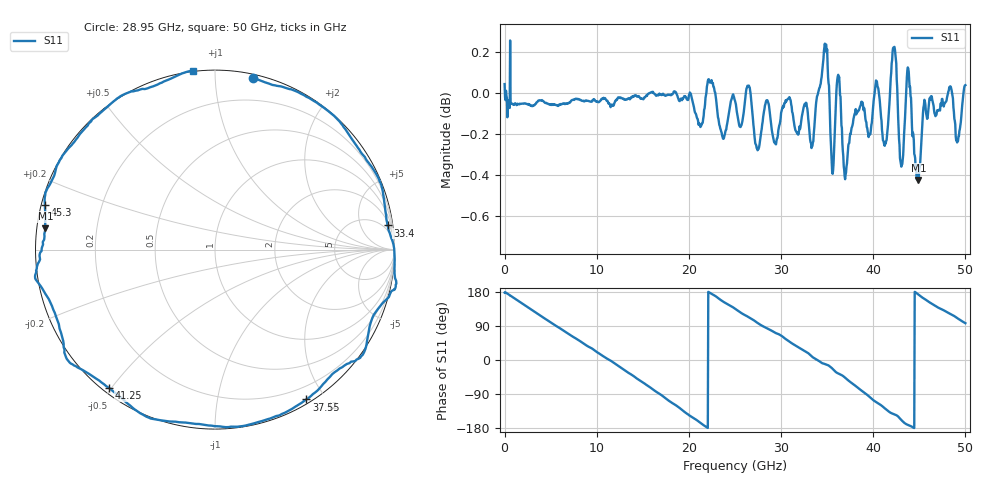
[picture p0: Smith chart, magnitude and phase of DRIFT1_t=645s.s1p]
!Created with skrf (http://scikit-rf.org).
# Hz S RI R 50.0
!freq ReS11 ImS11
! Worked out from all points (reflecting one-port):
!   1001 points, 300 kHz to 50 GHz, reference 50 ohm
!   lowest |S11| = -0.4 dB at 44.9 GHz (marker M1), VSWR 41.06, Z = 1.22 + j3.12 ohm
!   phase of S11 starts at 178 deg and turns -801 deg over the sweep
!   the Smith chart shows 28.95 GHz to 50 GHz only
!   S11 on the Smith chart (normalised r, x): 28.95 GHz: 0.02, +1.24; 33.4 GHz: 3, +14; 37.55 GHz: 0.05, -1.78; 41.25 GHz: 0.02, -0.49; 45.3 GHz: 0.01, +0.13; 50 GHz: -0.00, +0.88
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300000  -1.004 0.0375
1.75029e9  -0.8741 0.4732
3.600278e9  -0.521 0.848
6.250262e9  0.1762 0.9783
7.950252e9  0.5931 0.8011
9.850241e9  0.9141 0.3942
1.250022e10  0.946 -0.3163
1.395022e10  0.7472 -0.6619
1.59002e10  0.2723 -0.9627
1.875019e10  -0.5329 -0.8443
2.020018e10  -0.855 -0.5179
2.200017e10  -1.004 -0.0266
2.500015e10  -0.7119 0.6962
2.660014e10  -0.3682 0.933
2.895013e10  0.2097 0.9587
3.125011e10  0.7258 0.6716
3.34001e10  0.9614 0.1344
3.500009e10  0.9999 -0.224
3.750008e10  0.5196 -0.8279
3.755007e10  0.5085 -0.8347
3.910007e10  0.0428 -0.9873
4.125005e10  -0.59 -0.7711
4.245005e10  -0.8367 -0.5838
4.375004e10  -1.002 -0.1587
4.490003e10  -0.9451 0.1185
4.530003e10  -0.9476 0.2488
4.720002e10  -0.7183 0.6823
5e10  -0.1248 0.9967
